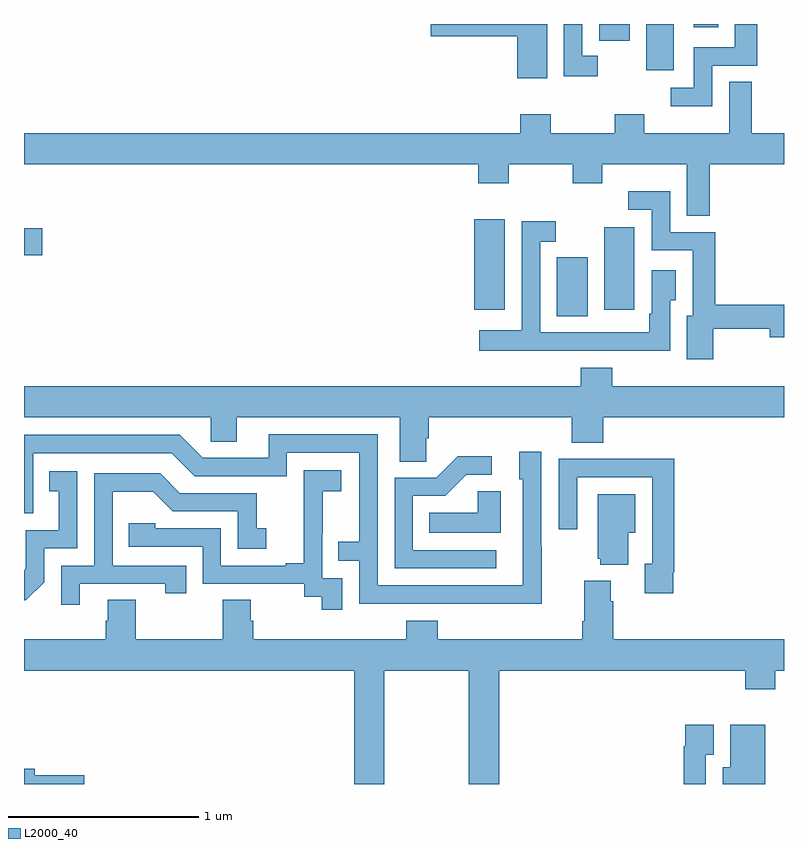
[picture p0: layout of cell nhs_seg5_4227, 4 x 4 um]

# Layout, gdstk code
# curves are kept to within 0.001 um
import gdstk
lib = gdstk.Library(unit=1e-6, precision=1e-09)
def R(c, l, rs):  # rectangles x0, y0, x1, y1
    for r in rs: c.add(gdstk.rectangle(r[:2], r[2:], *l))
def P(c, l, *ps):  # polygons
    for p in ps: c.add(gdstk.Polygon(p, *l))
L2000_40 = (2000, 40)

nhs_seg5_4227 = lib.new_cell('nhs_seg5_4227')
R(nhs_seg5_4227, L2000_40, [(361.805,889.261,361.966,889.572), (361.37,889.296,361.531,889.771), (362.054,889.296,362.212,889.729), (359,889.583,359.095,889.725), (362.276,890.556,362.419,890.799), (362.027,890.712,362.188,890.799), (362.526,890.781,362.653,890.799)])
P(nhs_seg5_4227, L2000_40, [(362.622,890.58),(362.86,890.58),(362.86,890.799),(362.741,890.799),(362.741,890.676),(362.526,890.676),(362.526,890.463),(362.403,890.463),(362.403,890.366),(362.622,890.366)],
  [(361.753,890.799),(361.14,890.799),(361.14,890.735),(361.595,890.735),(361.595,890.514),(361.753,890.514)],
  [(362.02,890.631),(361.938,890.631),(361.938,890.799),(361.842,890.799),(361.842,890.523),(362.02,890.523)],
  [(362.608,890.06),(363,890.06),(363,890.224),(362.83,890.224),(362.83,890.495),(362.711,890.495),(362.711,890.224),(362.265,890.224),(362.265,890.323),(362.11,890.323),(362.11,890.224),(361.773,890.224),(361.773,890.323),(361.613,890.323),(361.613,890.224),(359,890.224),(359,890.06),(361.391,890.06),(361.391,889.961),(361.551,889.961),(361.551,890.06),(361.888,890.06),(361.888,889.961),(362.043,889.961),(362.043,890.06),(362.489,890.06),(362.489,889.789),(362.608,889.789)],
  [(362.628,889.194),(362.924,889.194),(362.924,889.151),(363,889.151),(363,889.322),(362.638,889.322),(362.638,889.704),(362.4,889.704),(362.4,889.918),(362.181,889.918),(362.181,889.821),(362.304,889.821),(362.304,889.608),(362.519,889.608),(362.519,889.263),(362.489,889.263),(362.489,889.035),(362.628,889.035)],
  [(361.813,889.08),(362.179,889.08),(362.179,889.079),(362.4,889.079),(362.4,889.345),(362.431,889.345),(362.431,889.504),(362.304,889.504),(362.304,889.273),(362.292,889.273),(362.292,889.176),(361.716,889.176),(361.716,889.653),(361.798,889.653),(361.798,889.762),(361.62,889.762),(361.62,889.186),(361.395,889.186),(361.395,889.079),(361.813,889.079)],
  [(361.116,888.619),(361.13,888.619),(361.13,888.728),(361.883,888.728),(361.883,888.595),(362.048,888.595),(362.048,888.728),(363,888.728),(363,888.892),(362.096,888.892),(362.096,888.991),(361.931,888.991),(361.931,888.892),(359,888.892),(359,888.728),(359.982,888.728),(359.982,888.601),(360.121,888.601),(360.121,888.728),(360.977,888.728),(360.977,888.496),(361.116,888.496)],
  [(361.725,888.053),(361.722,888.053),(361.722,888.547),(361.607,888.547),(361.607,888.402),(361.626,888.402),(361.626,887.844),(360.861,887.844),(360.861,888.639),(360.287,888.639),(360.287,888.516),(359.94,888.516),(359.82,888.636),(359,888.636),(359,888.225),(359.049,888.225),(359.049,888.54),(359.778,888.54),(359.898,888.42),(360.384,888.42),(360.384,888.543),(360.765,888.543),(360.765,888.074),(360.655,888.074),(360.655,887.973),(360.765,887.973),(360.765,887.748),(361.725,887.747)],
  [(361.486,888.03),(361.047,888.03),(361.047,888.315),(361.216,888.315),(361.327,888.426),(361.462,888.426),(361.462,888.524),(361.283,888.524),(361.17,888.411),(360.951,888.411),(360.951,887.934),(361.486,887.934)],
  [(362.416,887.914),(362.423,887.914),(362.423,888.512),(362.131,888.512),(362.131,888.51),(361.815,888.51),(361.815,888.141),(361.911,888.141),(361.911,888.414),(362.307,888.414),(362.307,887.958),(362.267,887.958),(362.267,887.802),(362.416,887.802)],
  [(360.675,887.883),(360.57,887.883),(360.57,888.113),(360.572,888.113),(360.572,888.341),(360.67,888.341),(360.67,888.451),(360.472,888.451),(360.472,888.245),(360.473,888.245),(360.473,887.962),(360.377,887.962),(360.377,887.949),(360.036,887.949),(360.036,888.144),(359.691,888.144),(359.691,888.171),(359.551,888.171),(359.551,888.048),(359.94,888.048),(359.94,887.853),(360.474,887.853),(360.474,887.785),(360.567,887.785),(360.567,887.715),(360.675,887.715)],
  [(359.106,887.862),(359.106,888.039),(359.28,888.039),(359.28,888.445),(359.134,888.445),(359.134,888.339),(359.183,888.339),(359.183,888.135),(359.01,888.135),(359.01,887.934),(359,887.924),(359,887.765),(359.008,887.765)],
  [(359.293,887.853),(359.744,887.853),(359.744,887.802),(359.855,887.802),(359.855,887.949),(359.466,887.949),(359.466,888.338),(359.68,888.338),(359.784,888.234),(360.126,888.234),(360.126,888.036),(360.274,888.036),(360.274,888.145),(360.225,888.145),(360.225,888.33),(359.821,888.33),(359.716,888.435),(359.37,888.435),(359.37,887.949),(359.196,887.949),(359.196,887.742),(359.293,887.742)],
  [(361.51,888.341),(361.389,888.341),(361.389,888.226),(361.132,888.226),(361.132,888.122),(361.51,888.122)],
  [(362.179,888.122),(362.218,888.122),(362.218,888.325),(362.021,888.325),(362.021,887.985),(362.033,887.985),(362.033,887.954),(362.179,887.954)],
  [(360.897,887.396),(361.342,887.396),(361.342,886.799),(361.502,886.799),(361.502,887.396),(362.795,887.396),(362.795,887.297),(362.955,887.297),(362.955,887.396),(363,887.396),(363,887.56),(362.102,887.56),(362.102,887.762),(362.089,887.762),(362.089,887.869),(361.949,887.869),(361.949,887.656),(361.937,887.656),(361.937,887.56),(361.178,887.56),(361.178,887.659),(361.013,887.659),(361.013,887.56),(360.206,887.56),(360.206,887.658),(360.193,887.658),(360.193,887.768),(360.046,887.768),(360.046,887.56),(359.589,887.56),(359.589,887.768),(359.441,887.768),(359.441,887.658),(359.429,887.658),(359.429,887.56),(359,887.56),(359,887.396),(360.737,887.396),(360.737,886.799),(360.897,886.799)],
  [(362.902,887.11),(362.717,887.11),(362.717,886.886),(362.678,886.886),(362.678,886.799),(362.902,886.799)],
  [(362.589,886.954),(362.629,886.954),(362.629,887.11),(362.481,887.11),(362.481,886.997),(362.473,886.997),(362.473,886.799),(362.589,886.799)],
  [(359.317,886.844),(359.056,886.844),(359.056,886.88),(359,886.88),(359,886.799),(359.317,886.799)])

lib.write_gds('nhs_seg5_4227.gds')
